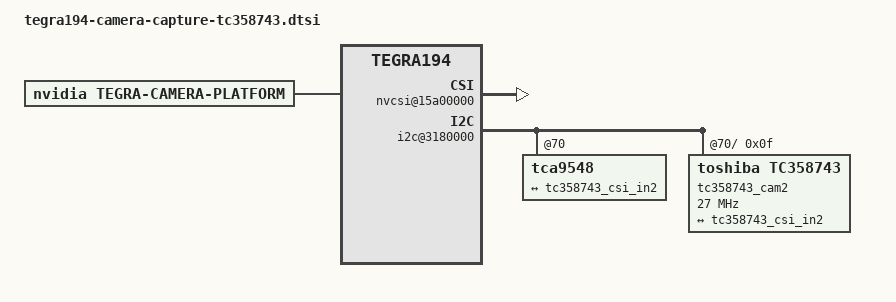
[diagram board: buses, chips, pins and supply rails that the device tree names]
/*
 * Copyright (c) 2015-2019, NVIDIA CORPORATION.  All rights reserved.
 *
 * This program is free software; you can redistribute it and/or modify
 * it under the terms of the GNU General Public License as published by
 * the Free Software Foundation; either version 2 of the License, or
 * (at your option) any later version.
 *
 * This program is distributed in the hope that it will be useful, but WITHOUT
 * ANY WARRANTY; without even the implied warranty of MERCHANTABILITY or
 * FITNESS FOR A PARTICULAR PURPOSE.  See the GNU General Public License for
 * more details.
 *
 * You should have received a copy of the GNU General Public License
 * along with this program.  If not, see <http://www.gnu.org/licenses/>.
 */

#include <dt-bindings/media/camera.h>
/ {
	tegra-capture-vi  {
			num-channels = <1>;
			ports {
				status="okay";
				#address-cells = <1>;
				#size-cells = <0>;
				port@0 {
					status="okay";
					reg = <0>;
					tc358743_vi_in2: endpoint {
						status="okay";
						port-index = <0>;
						bus-width = <2>;
						csi-port = <0>; 
						remote-endpoint = <&tc358743_csi_out2>;
					};
				};
			};
		};
	
	host1x@13e00000 {	
		nvcsi@15a00000 {
			num-channels = <1>;
			#address-cells = <1>;
			#size-cells = <0>;
			status="okay";
			channel@0 {
				reg = <0>;
				status="okay";
				ports {
					#address-cells = <1>;
					#size-cells = <0>;
					status="okay";
					port@0 {
						status="okay";
						reg = <0>;
						tc358743_csi_in2: endpoint@0 {
							status="okay";
							port-index = <0>;
							bus-width = <2>;
							csi-port = <0>;

							remote-endpoint = <&tc358743_out2>;
						};
					};
					port@1 {
						status="okay";
						reg = <1>;
						tc358743_csi_out2: endpoint@1 {
							status="okay";
							remote-endpoint = <&tc358743_vi_in2>;
						};
					};
				};
			};
		};	
	};

	i2c@3180000{ 		
		tca9548@70 {	
			i2c_0: i2c@0 {
			tc358743_cam2: tc358743_a@0f {
			status = "okay";
            compatible = "toshiba,tc358743";
            reg = <0x0f>; /* (normal = address not shifted) */

            devnode ="video0";

            clocks = <&bpmp_clks TEGRA194_CLK_EXTPERIPH1>;
			clock-names = "refclk";
            
            clock-frequency  = <27000000>;  // refclk_hz -> regclk

            /* Physical dimensions of sensor */
            physical_w = "4.713";
            physical_h = "3.494";

            /* Sensor Model */
            sensor_model ="tc358743";

            ddc5v_delay = <2>;
            enable_hdcp = "false";
            lineinitcnt = <0xe80>;
            lptxtimecnt = <0x003>;
            tclk_headercnt = <0x1403>;
            tclk_trailcnt = <0x00>;
            ths_headercnt = <0x0103>;
            twakeup = <0x4882>;
            tclk_postcnt = <0x008>;
            ths_trailcnt = <0x02>;
            hstxvregcnt = <0>;
 			
			mclk_khz = "27000";

			embedded_metadata_height = "0";
			pix_clk_hz = "25000000";
			sensor_pix_clk_hz = "25000000";
			mclk_multiplier = "7.69";					
			lane_polarity = "0";
			discontinuous_clk = "no";
			dpcm_enable = "false";
			cil_settletime = "0";
			csi_pixel_bit_depth = "16";
			num_lanes = "2";
			tegra_sinterface = "serial_a";
			phy_mode = "DPHY";
					ports {
						#address-cells = <1>;
						#size-cells = <0>;
						status="okay";

						port@0 {
							status="okay";
							reg = <0>;
							tc358743_out2: endpoint {
								status="okay";
								port-index = <0>;
								bus-width = <2>;
								data-lanes = <1 2>;
                        		clock-lanes = <0>;
								csi-port = <0>;

                        		//clock-noncontinuous;
                        		link-frequencies = /bits/ 64 <297000000>;
								remote-endpoint = <&tc358743_csi_in2>;
							};
						};
					};
				};
			};
		};
	};
};

				


/ {
	tegra-camera-platform {
		compatible = "nvidia, tegra-camera-platform";	
		/**
		* Physical settings to calculate max ISO BW
		*
		* num_csi_lanes = <>;
		* Total number of CSI lanes when all cameras are active
		*
		* max_lane_speed = <>;
		* Max lane speed in Kbit/s
		*
		* min_bits_per_pixel = <>;
		* Min bits per pixel
		*
		* vi_peak_byte_per_pixel = <>;
		* Max byte per pixel for the VI ISO case
		*
		* vi_bw_margin_pct = <>;
		* Vi bandwidth margin in percentage
		*
		* max_pixel_rate = <>;
		* Max pixel rate in Kpixel/s for the ISP ISO case
		* Set this to the highest pix_clk_hz out of all available modes.
		*
		* isp_peak_byte_per_pixel = <>;
		* Max byte per pixel for the ISP ISO case
		*
		* isp_bw_margin_pct = <>;
		* Isp bandwidth margin in percentage
		*/
		num_csi_lanes = <2>;
		max_lane_speed = <1500000>;
		min_bits_per_pixel = <16>;
		vi_peak_byte_per_pixel = <2>;
		vi_bw_margin_pct = <25>;
		max_pixel_rate = <408000>;
		isp_peak_byte_per_pixel = <2>;
		isp_bw_margin_pct = <25>;

		/**
		* The general guideline for naming badge_info contains 3 parts, and is as follows,
		* The first part is the camera_board_id for the module; if the module is in a FFD
		* platform, then use the platform name for this part.
		* The second part contains the position of the module, ex. “rear” or “front”.
		* The third part contains the last 6 characters of a part number which is found
		* in the module's specsheet from the vender.
		*/
		modules { 
			status="okay";
			module0 {
				badge = "jakku_bottomleft_AVtc358743";
				position = "bottomleft";
				orientation = "1";
				status="okay";
				drivernode0 {
					status="okay";
					pcl_id = "v4l2_sensor";
					devname = "tc358743 30-000f";
					proc-device-tree = "/proc/device-tree/i2c@3180000/tca9548@70/i2c@0/tc358743_a@0f";
				};
			};
		};
	};
};
